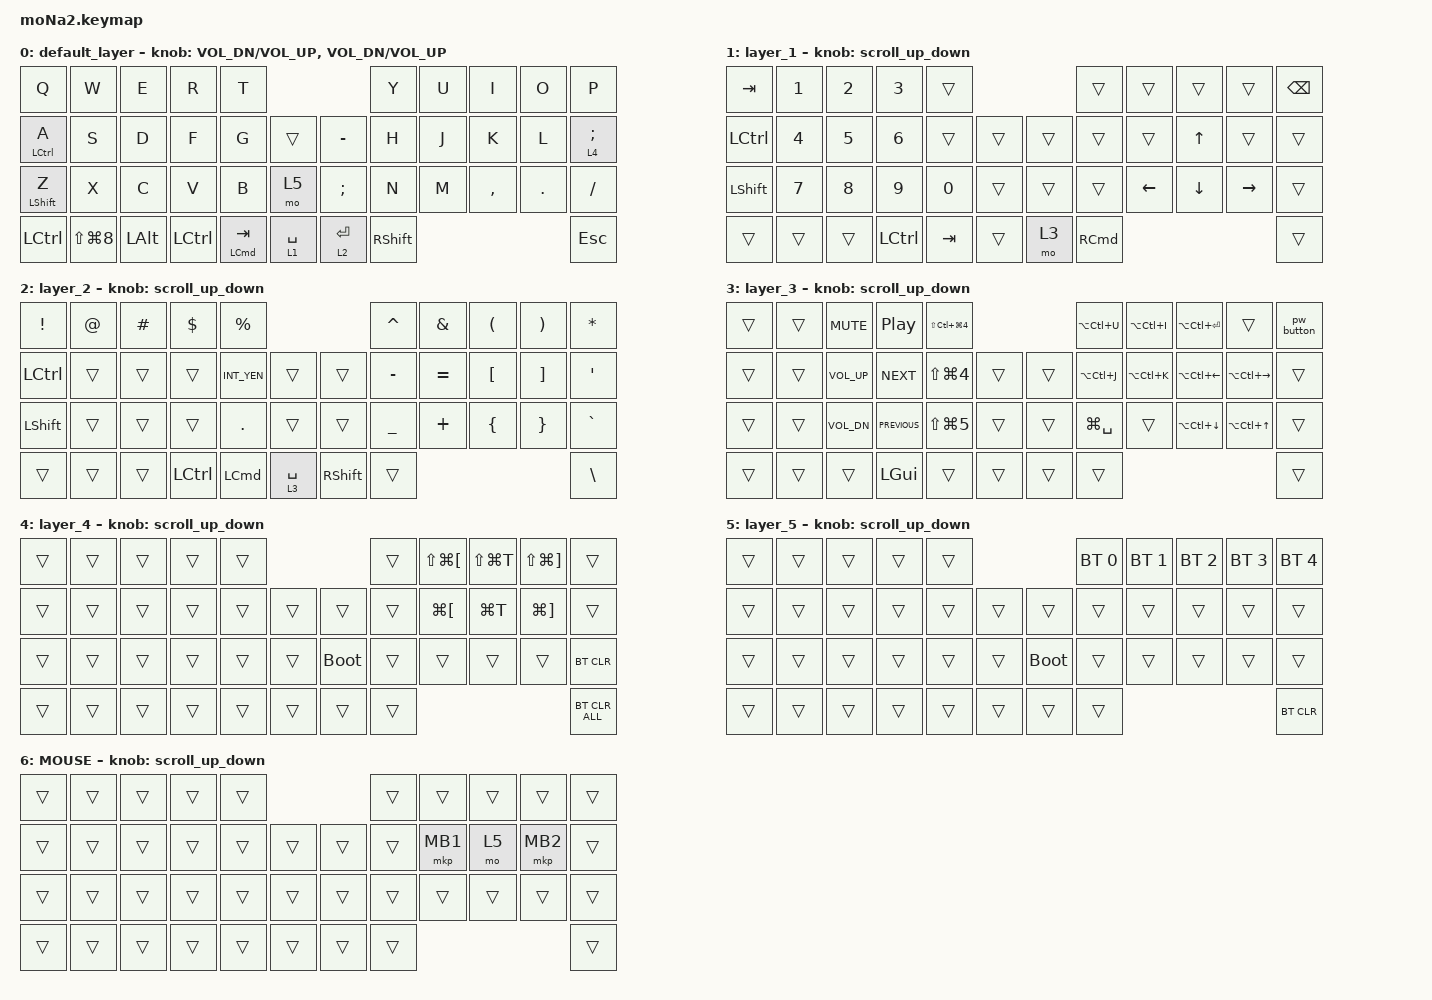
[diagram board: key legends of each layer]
#include <behaviors.dtsi>
#include <dt-bindings/zmk/bt.h>
#include <dt-bindings/zmk/keys.h>
#include <dt-bindings/zmk/pointing.h>

#define ZMK_POINTING_DEFAULT_SCRL_VAL 100
#define MOUSE 6

&mt {
    flavor = "balanced";
    quick-tap-ms = <0>;
};

/ {
    combos { compatible = "zmk,combos"; };

    macros {
        pw_button: to_layer_0 {
            compatible = "zmk,behavior-macro";
            #binding-cells = <0>;
            bindings = <&kp LS(M) &kp A &kp D &kp O &kp M &kp A &kp D &kp O &kp UNDER &kp N0 &kp N3 &kp N1 &kp N3 &kp RET>;
            label = "TO_LAYER_0";
        };
    };

    behaviors {
        lt_to_layer_0: lt_to_layer_0 {
            compatible = "zmk,behavior-hold-tap";
            label = "LAYER_TAP_TO_0";
            bindings = <&mo>, <&pw_button>;

            #binding-cells = <2>;
            tapping-term-ms = <200>;
        };

        scroll_up_down: behavior_sensor_rotate_mouse_wheel_up_down {
            compatible = "zmk,behavior-sensor-rotate";
            #sensor-binding-cells = <0>;
            bindings = <&msc SCRL_UP>, <&msc SCRL_DOWN>;

            tap-ms = <20>;
        };
    };

    keymap {
        compatible = "zmk,keymap";

        default_layer {
            bindings = <
&kp Q             &kp W           &kp E         &kp R      &kp T                                               &kp Y            &kp U  &kp I      &kp O    &kp P
&mt LCTRL A       &kp S           &kp D         &kp F      &kp G                 &trans         &kp MINUS      &kp H            &kp J  &kp K      &kp L    &lt 4 SEMICOLON
&mt LEFT_SHIFT Z  &kp X           &kp C         &kp V      &kp B                 &mo 5          &kp SEMICOLON  &kp N            &kp M  &kp COMMA  &kp DOT  &kp SLASH
&kp LCTRL         &kp LS(LG(N8))  &kp LEFT_ALT  &kp LCTRL  &mt LEFT_COMMAND TAB  &lt 1 SPACE    &lt 2 ENTER    &kp RIGHT_SHIFT                             &kp ESCAPE
            >;

            sensor-bindings =
                <&inc_dec_kp C_VOL_DN C_VOL_UP>,
                <&inc_dec_kp C_VOL_DN C_VOL_UP>;
        };

        layer_1 {
            bindings = <
&kp TAB         &kp NUMBER_1  &kp NUMBER_2  &kp NUMBER_3  &trans                          &trans             &trans    &trans        &trans     &kp BACKSPACE
&kp LCTRL       &kp NUMBER_4  &kp NUMBER_5  &kp NUMBER_6  &trans        &trans    &trans  &trans             &trans    &kp UP_ARROW  &trans     &trans
&kp LEFT_SHIFT  &kp NUMBER_7  &kp NUMBER_8  &kp NUMBER_9  &kp NUMBER_0  &trans    &trans  &trans             &kp LEFT  &kp DOWN      &kp RIGHT  &trans
&trans          &trans        &trans        &kp LCTRL     &kp TAB       &trans    &mo 3   &kp RIGHT_COMMAND                                     &trans
            >;

            sensor-bindings = <&scroll_up_down>;
        };

        layer_2 {
            bindings = <
&kp EXCLAMATION  &kp AT_SIGN  &kp HASH  &kp DOLLAR  &kp PERCENT                                       &kp CARET       &kp AMPERSAND  &kp LEFT_PARENTHESIS  &kp RIGHT_PARENTHESIS  &kp ASTERISK
&kp LCTRL        &trans       &trans    &trans      &kp INT_YEN       &trans         &trans           &kp MINUS       &kp EQUAL      &kp LEFT_BRACKET      &kp RIGHT_BRACKET      &kp SQT
&kp LEFT_SHIFT   &trans       &trans    &trans      &kp PERIOD        &trans         &trans           &kp UNDERSCORE  &kp PLUS       &kp LEFT_BRACE        &kp RIGHT_BRACE        &kp GRAVE
&trans           &trans       &trans    &kp LCTRL   &kp LEFT_COMMAND  &lt 3 SPACE    &kp RIGHT_SHIFT  &trans                                                                      &kp BACKSLASH
            >;

            sensor-bindings = <&scroll_up_down>;
        };

        layer_3 {
            bindings = <
&trans  &trans  &kp K_MUTE    &kp C_PLAY_PAUSE  &kp LS(LC(LG(NUMBER_4)))                    &kp LA(LC(U))  &kp LA(LC(I))  &kp LA(LC(ENTER))  &trans             &pw_button
&trans  &trans  &kp C_VOL_UP  &kp C_NEXT        &kp LS(LG(NUMBER_4))      &trans    &trans  &kp LA(LC(J))  &kp LA(LC(K))  &kp LA(LC(LEFT))   &kp LA(LC(RIGHT))  &trans
&trans  &trans  &kp C_VOL_DN  &kp C_PREVIOUS    &kp LS(LG(NUMBER_5))      &trans    &trans  &kp LG(SPACE)  &trans         &kp LA(LC(DOWN))   &kp LA(LC(UP))     &trans
&trans  &trans  &trans        &kp LEFT_GUI      &trans                    &trans    &trans  &trans                                                              &trans
            >;

            sensor-bindings = <&scroll_up_down>;
        };

        layer_4 {
            bindings = <
&trans  &trans  &trans  &trans  &trans                         &trans  &kp LS(LG(LEFT_BRACKET))  &kp LS(LG(T))  &kp LS(LG(RIGHT_BRACKET))  &trans
&trans  &trans  &trans  &trans  &trans  &trans    &trans       &trans  &kp LG(LEFT_BRACKET)      &kp LG(T)      &kp LG(RIGHT_BRACKET)      &trans
&trans  &trans  &trans  &trans  &trans  &trans    &bootloader  &trans  &trans                    &trans         &trans                     &bt BT_CLR
&trans  &trans  &trans  &trans  &trans  &trans    &trans       &trans                                                                      &bt BT_CLR_ALL
            >;

            sensor-bindings = <&scroll_up_down>;
        };

        layer_5 {
            bindings = <
&trans  &trans  &trans  &trans  &trans                         &bt BT_SEL 0  &bt BT_SEL 1  &bt BT_SEL 2  &bt BT_SEL 3  &bt BT_SEL 4
&trans  &trans  &trans  &trans  &trans  &trans    &trans       &trans        &trans        &trans        &trans        &trans
&trans  &trans  &trans  &trans  &trans  &trans    &bootloader  &trans        &trans        &trans        &trans        &trans
&trans  &trans  &trans  &trans  &trans  &trans    &trans       &trans                                                  &bt BT_CLR
            >;

            sensor-bindings = <&scroll_up_down>;
        };

        MOUSE {
            bindings = <
&trans  &trans  &trans  &trans  &trans                    &trans  &trans    &trans  &trans    &trans
&trans  &trans  &trans  &trans  &trans  &trans    &trans  &trans  &mkp MB1  &mo 5   &mkp MB2  &trans
&trans  &trans  &trans  &trans  &trans  &trans    &trans  &trans  &trans    &trans  &trans    &trans
&trans  &trans  &trans  &trans  &trans  &trans    &trans  &trans                              &trans
            >;

            sensor-bindings = <&scroll_up_down>;
        };
    };
};
